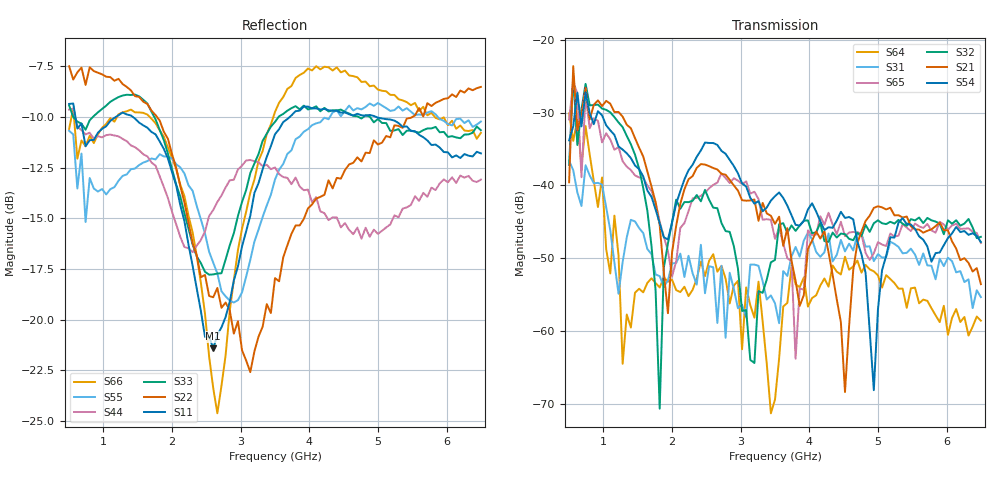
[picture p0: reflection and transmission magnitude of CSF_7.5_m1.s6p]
!Keysight Technologies,M9804A,MY58100912,A.14.10.03
!Date: Thursday, April 27, 2023 10:28:33
!Correction: S11(C  6-Port  )
!S12(C  6-Port  )
!S13(C  6-Port  )
!S14(C  6-Port  )
!S15(C  6-Port  )
!S16(C  6-Port  )
!S21(C  6-Port  )
!S22(C  6-Port  )
!S23(C  6-Port  )
!S24(C  6-Port  )
!S25(C  6-Port  )
!S26(C  6-Port  )
!S31(C  6-Port  )
!S32(C  6-Port  )
!S33(C  6-Port  )
!S34(C  6-Port  )
!S35(C  6-Port  )
!S36(C  6-Port  )
!S41(C  6-Port  )
!S42(C  6-Port  )
!S43(C  6-Port  )
!S44(C  6-Port  )
!S45(C  6-Port  )
!S46(C  6-Port  )
!S51(C  6-Port  )
!S52(C  6-Port  )
!S53(C  6-Port  )
!S54(C  6-Port  )
!S55(C  6-Port  )
!S56(C  6-Port  )
!S61(C  6-Port  )
!S62(C  6-Port  )
!S63(C  6-Port  )
!S64(C  6-Port  )
!S65(C  6-Port  )
!S66(C  6-Port  )
!S6P File: Measurement: :
# Hz S  RI  R 50
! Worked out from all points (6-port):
!   101 points, 500 MHz to 6.5 GHz, reference 50 ohm
!   strongest paths, dB at 500 MHz, 2 GHz, 3.5 GHz, 5 GHz, 6.5 GHz:
!     S54: -33.8, -45.1, -41.5, -57.0, -47.8
!     S21: -39.6, -49.2, -45.3, -42.9, -53.6
!     S32: -37.2, -45.0, -50.2, -44.8, -47.1
!     S65: -30.9, -52.5, -47.3, -47.8, -47.9
!     S31: -36.6, -50.7, -56.2, -49.4, -55.3
!     S64: -30.1, -52.9, -69.4, -52.3, -58.6
!   lowest |S11| = -21.4 dB at 2.6 GHz (marker M1), VSWR 1.19, Z = 42.5 + j2.23 ohm
!   |S11| at or under -10 dB: 592.1 MHz to 1.182 GHz (589.4 MHz wide, 66.5 % of centre); 1.427 GHz to 3.716 GHz (2.288 GHz wide, 89 % of centre); 4.972 GHz to end of sweep
